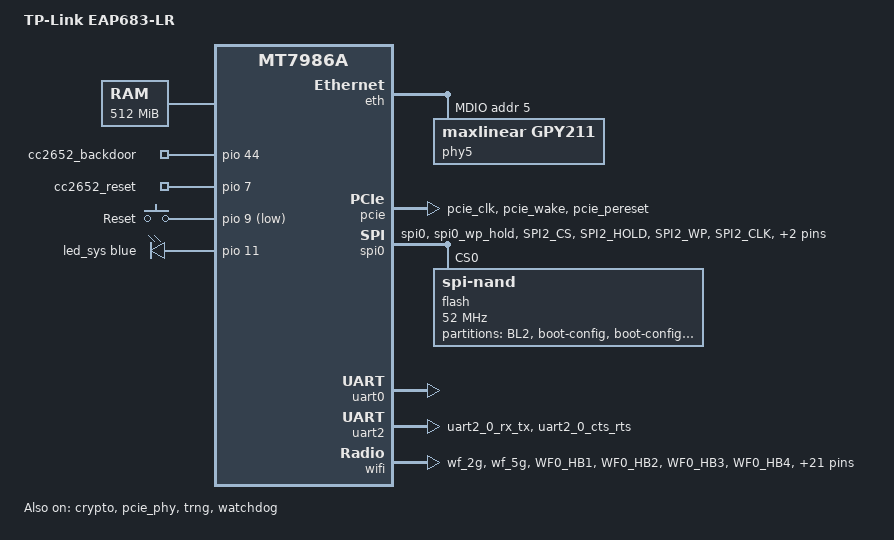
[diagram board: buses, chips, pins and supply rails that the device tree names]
// SPDX-License-Identifier: GPL-2.0-only OR MIT

/dts-v1/;
#include <dt-bindings/gpio/gpio.h>
#include <dt-bindings/input/input.h>
#include <dt-bindings/leds/common.h>
#include <dt-bindings/pinctrl/mt65xx.h>

#include "mt7986a.dtsi"

/ {
	compatible = "tplink,eap683-lr", "mediatek,mt7986a";
	model = "TP-Link EAP683-LR";

	aliases {
		serial0 = &uart0;
		led-boot = &led_sys;
		led-running = &led_sys;
		led-upgrade = &led_sys;
		led-failsafe = &led_sys;
	};

	/*
	 * OEM U-Boot overwrites bootargs set in u-boot-env when running the mtkboardboot command
	 *
	 * with tp_boot_idx unset or set != 1:
	 * console=ttyS0,115200n1 ubi.mtd=rootfs root=/dev/ubiblock0_0 rootfstype=squashfs rootwait loglevel=8 earlycon=uart8250,mmio32,0x11002000
	 *
	 * with tp_boot_idx set to 1:
	 * console=ttyS0,115200n1 ubi.mtd=rootfs_1 root=/dev/ubiblock0_0 rootfstype=squashfs rootwait loglevel=8 earlycon=uart8250,mmio32,0x11002000
	 */

	chosen {
		bootargs-append = " ubi.mtd=ubi root=/dev/ubiblock0_1";
		stdout-path = "serial0:115200n8";
	};

	memory@40000000 {
		reg = <0 0x40000000 0 0x20000000>;
		device_type = "memory";
	};

	gpio-export {
		compatible = "gpio-export";

		cc2652_backdoor {
			gpio-export,name = "cc2652_backdoor";
			gpio-export,output = <1>;
			gpios = <&pio 44 GPIO_ACTIVE_HIGH>;
		};

		cc2652_reset {
			gpio-export,name = "cc2652_reset";
			gpio-export,output = <1>;
			gpios = <&pio 7 GPIO_ACTIVE_HIGH>;
		};
	};

	keys {
		compatible = "gpio-keys";

		key-restart {
			label = "Reset";
			gpios = <&pio 9 GPIO_ACTIVE_LOW>;
			linux,code = <KEY_RESTART>;
		};
	};

	leds {
		compatible = "gpio-leds";

		led_sys: led-0 {
			function = LED_FUNCTION_STATUS;
			color = <LED_COLOR_ID_BLUE>;
			gpios = <&pio 11 GPIO_ACTIVE_HIGH>;
		};
	};
};

&crypto {
	status = "okay";
};

&eth {
	status = "okay";

	mac@1 {
		compatible = "mediatek,eth-mac";
		reg = <1>;
		phy-handle = <&phy5>;
		phy-mode = "2500base-x";
	};

	mdio-bus {
		#address-cells = <1>;
		#size-cells = <0>;
		reset-gpios = <&pio 10 GPIO_ACTIVE_LOW>;
		reset-delay-us = <600>;
		reset-post-delay-us = <20000>;

		phy5: ethernet-phy@5 {
			compatible = "maxlinear,gpy211", "ethernet-phy-ieee802.3-c45";
			reg = <5>;
			phy-mode = "2500base-x";
		};
	};
};

&pcie {
	pinctrl-names = "default";
	pinctrl-0 = <&pcie_pins>;
	status = "okay";
};

&pcie_phy {
	status = "okay";
};

&pio {
	pcie_pins: pcie-pins {
		mux {
			function = "pcie";
			groups = "pcie_clk", "pcie_wake", "pcie_pereset";
		};
	};

	spi_flash_pins: spi-flash-pins-33-to-38 {
		mux {
			function = "spi";
			groups = "spi0", "spi0_wp_hold";
		};
		conf-pu {
			pins = "SPI2_CS", "SPI2_HOLD", "SPI2_WP";
			drive-strength = <MTK_DRIVE_8mA>;
			mediatek,pull-up-adv = <MTK_PUPD_SET_R1R0_11>;
		};
		conf-pd {
			pins = "SPI2_CLK", "SPI2_MOSI", "SPI2_MISO";
			drive-strength = <MTK_DRIVE_8mA>;
			mediatek,pull-down-adv = <MTK_PUPD_SET_R1R0_11>;
		};
	};

	uart2_pins: uart2-pins {
		mux {
			function = "uart";
			groups = "uart2_0_rx_tx", "uart2_0_cts_rts";
		};
	};

	wf_2g_5g_pins: wf_2g_5g-pins {
		mux {
			function = "wifi";
			groups = "wf_2g", "wf_5g";
		};
		conf {
			pins = "WF0_HB1", "WF0_HB2", "WF0_HB3", "WF0_HB4",
			       "WF0_HB0", "WF0_HB0_B", "WF0_HB5", "WF0_HB6",
			       "WF0_HB7", "WF0_HB8", "WF0_HB9", "WF0_HB10",
			       "WF0_TOP_CLK", "WF0_TOP_DATA", "WF1_HB1",
			       "WF1_HB2", "WF1_HB3", "WF1_HB4", "WF1_HB0",
			       "WF1_HB5", "WF1_HB6", "WF1_HB7", "WF1_HB8",
			       "WF1_TOP_CLK", "WF1_TOP_DATA";
			drive-strength = <MTK_DRIVE_4mA>;
		};
	};

	wf_dbdc_pins: wf-dbdc-pins {
		mux {
			function = "wifi";
			groups = "wf_dbdc";
		};
		conf {
			pins = "WF0_HB1", "WF0_HB2", "WF0_HB3", "WF0_HB4",
				"WF0_HB0", "WF0_HB0_B", "WF0_HB5", "WF0_HB6",
				"WF0_HB7", "WF0_HB8", "WF0_HB9", "WF0_HB10",
				"WF0_TOP_CLK", "WF0_TOP_DATA", "WF1_HB1",
				"WF1_HB2", "WF1_HB3", "WF1_HB4", "WF1_HB0",
				"WF1_HB5", "WF1_HB6", "WF1_HB7", "WF1_HB8",
				"WF1_TOP_CLK", "WF1_TOP_DATA";
			drive-strength = <MTK_DRIVE_4mA>;
		};
	};
};

&spi0 {
	pinctrl-names = "default";
	pinctrl-0 = <&spi_flash_pins>;
	status = "okay";

	flash@0 {
		compatible = "spi-nand";
		reg = <0>;
		#address-cells = <1>;
		#size-cells = <1>;
		spi-max-frequency = <52000000>;
		spi-rx-bus-width = <4>;
		spi-tx-bus-width = <4>;
		mediatek,nmbm;
		mediatek,bmt-max-ratio = <1>;
		mediatek,bmt-max-reserved-blocks = <64>;

		partitions {
			compatible = "fixed-partitions";
			#address-cells = <1>;
			#size-cells = <1>;

			partition@0 {
				reg = <0x0 0x100000>;
				label = "BL2";
				read-only;
			};

			partition@100000 {
				reg = <0x100000 0x100000>;
				label = "boot-config";
				read-only;
			};

			partition@200000 {
				reg = <0x200000 0x100000>;
				label = "boot-config1";
				read-only;
			};

			partition@300000 {
				compatible = "u-boot,env";
				reg = <0x300000 0x100000>;
				label = "u-boot-env";
			};

			partition@400000 {
				reg = <0x400000 0x200000>;
				label = "FIP0";
				read-only;
			};

			partition@600000 {
				reg = <0x600000 0x200000>;
				label = "FIP1";
				read-only;
			};

			partition@800000 {
				reg = <0x800000 0x100000>;
				label = "oops";
			};

			partition@900000 {
				reg = <0x900000 0x2680000>;
				label = "ubi";
			};

			partition@2f80000 {
				reg = <0x2f80000 0x2680000>;
				label = "ubi1";
				read-only;
			};

			partition@5600000 {
				reg = <0x5600000 0x800000>;
				label = "factory";
				read-only;
			};

			partition@5e00000 {
				reg = <0x5e00000 0xc00000>;
				label = "runtime_data";
				read-only;
			};

			partition@6a00000 {
				reg = <0x6a00000 0x800000>;
				label = "backup_data";
				read-only;
			};

			partition@7200000 {
				reg = <0x7200000 0x600000>;
				label = "runtime_backup";
				read-only;
			};
		};
	};
};

&trng {
	status = "okay";
};

&uart0 {
	status = "okay";
};

&uart2 {
	pinctrl-names = "default";
	pinctrl-0 = <&uart2_pins>;
	status = "okay";
};

&watchdog {
	status = "okay";
};

&wifi {
	pinctrl-names = "default", "dbdc";
	pinctrl-0 = <&wf_2g_5g_pins>;
	pinctrl-1 = <&wf_dbdc_pins>;
	status = "okay";
};
